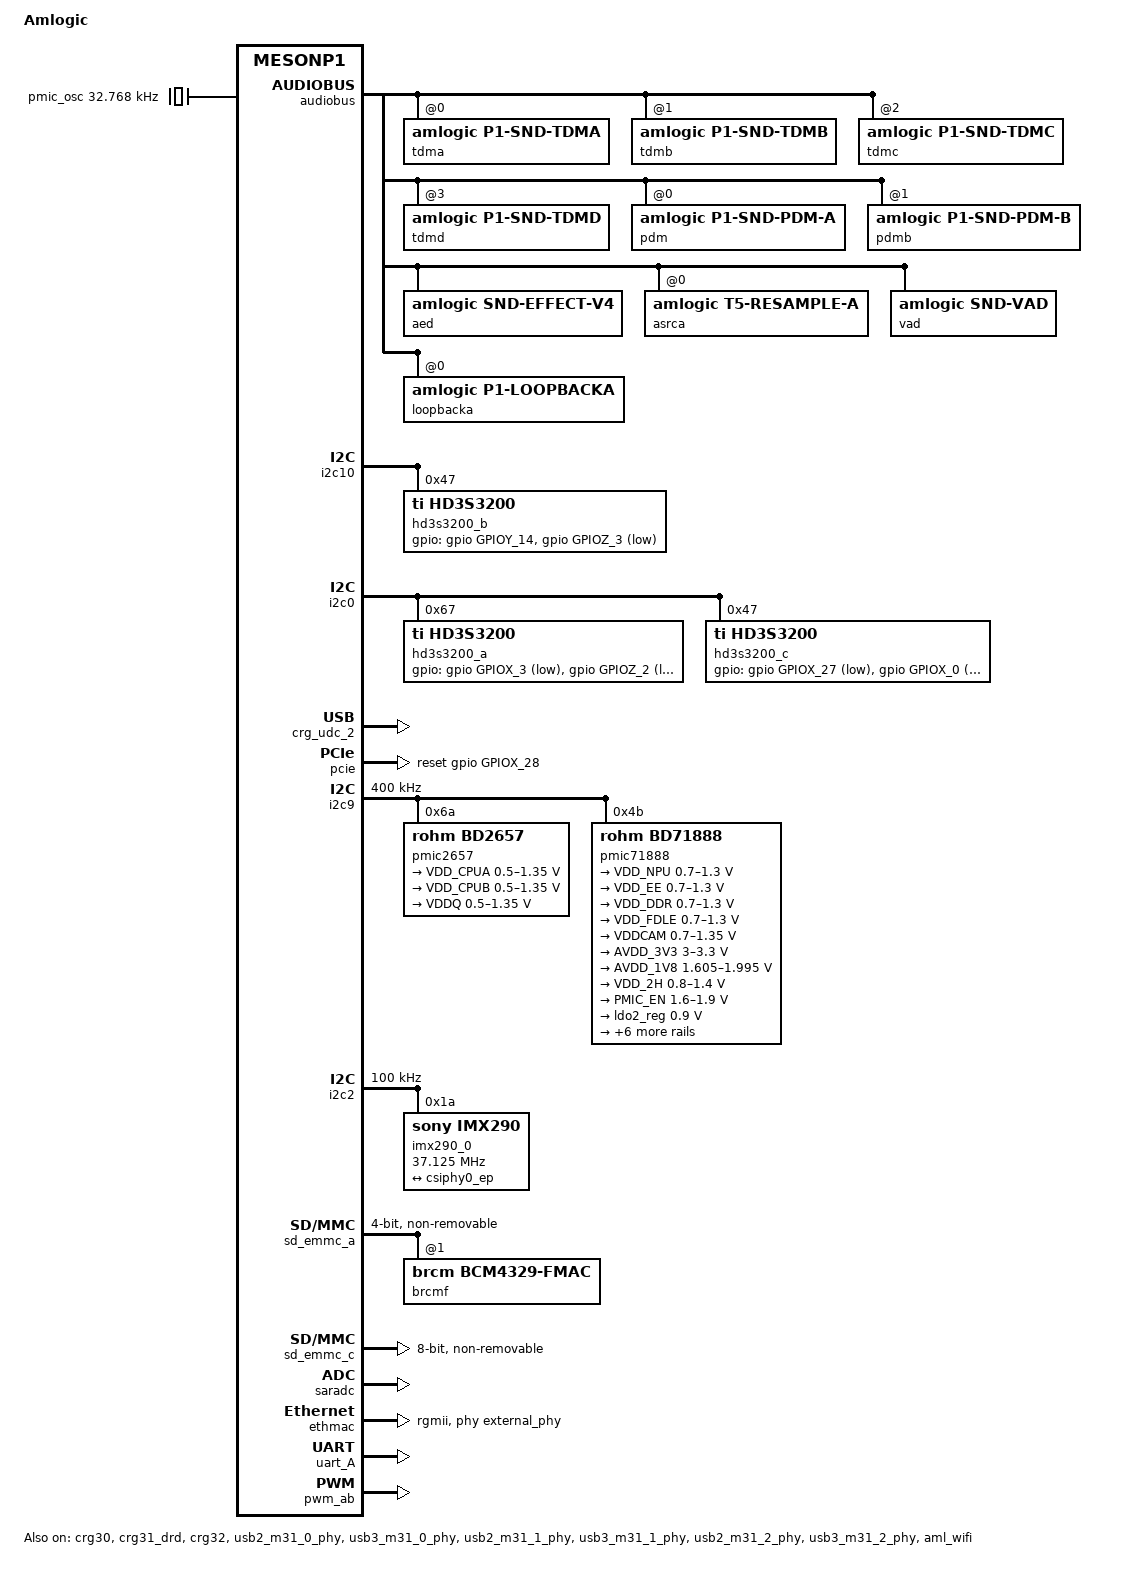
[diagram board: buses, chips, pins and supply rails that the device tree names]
// SPDX-License-Identifier: (GPL-2.0+ OR MIT)
/*
 * Copyright (c) 2019 Amlogic, Inc. All rights reserved.
 */

/dts-v1/;

#include "mesonp1.dtsi"
#include "partition_normal_linux.dtsi"
#include <dt-bindings/input/input.h>
//#include "mesont7_pxp-panel.dtsi"

/ {
	model = "Amlogic";
	amlogic-dt-id = "p1_as400_4g";
	compatible = "amlogic, p1";
	interrupt-parent = <&gic>;
	#address-cells = <2>;
	#size-cells = <2>;

	aliases {
		serial0 = &uart_A;
		serial1 = &uart_C;
		serial2 = &uart_B;
		serial3 = &uart_D;
		serial4 = &uart_E;
		serial5 = &uart_F;
		i2c0 = &i2c0;
		i2c1 = &i2c1;
		i2c2 = &i2c2;
		i2c3 = &i2c3;
		i2c4 = &i2c4;
		i2c5 = &i2c5;
		i2c6 = &i2c6;
		i2c7 = &i2c7;
		i2c8 = &i2c8;
		i2c9 = &i2c9;
		i2c10 = &i2c10;
		spi0 = &spifc;
		spi1 = &spicc0;
		spi2 = &spicc1;
		spi3 = &spicc2;
		spi4 = &spicc3;
		spi5 = &spicc4;
		spi6 = &spicc5;
		tsensor0 = &a76_tsensor;
		tsensor1 = &a55_tsensor;
		tsensor2 = &ddr0_tsensor;
		tsensor3 = &ddr1_tsensor;
		tsensor4 = &nna_tsensor;
	};

	memory@00000000 {
		device_type = "memory";
		linux,usable-memory = <0x00000000 0x00000000 0x00000000 0xE0000000
				       0x00000001 0x00000000 0x00000000 0x20000000>;
	};

	reserved-memory {
		#address-cells = <2>;
		#size-cells = <2>;
		ranges;

		/* global autoconfigured region for contiguous allocations */
		ramoops@0x07400000 {
			compatible = "ramoops";
			reg = <0x0 0x07400000 0x0 0x00100000>;
			record-size = <0x20000>;
			console-size = <0x40000>;
			ftrace-size = <0x80000>;
			pmsg-size = <0x10000>;
			bconsole-size = <0x10000>;
		};

		secmon_reserved:linux,secmon {
			compatible = "shared-dma-pool";
			reusable;
			size = <0x0 0x400000>;
			alignment = <0x0 0x400000>;
			alloc-ranges = <0x0 0x05000000 0x0 0x400000>;
			clear-map;
		};

		dsp_fw_reserved:linux,dsp_fw {
			compatible = "shared-dma-pool";
			reusable;
			size = <0x0 0x1000000>;
			alignment = <0x0 0x400000>;
			alloc-ranges = <0x0 0x3f000000 0x0 0x1000000>;
		};

		/*dsp_shm_reserved:linux,dsp_shm {      */
		/*	compatible = "dspshmem";            */
		/*	reg = <0x0 0x40820000 0x0 0x80000>; */
		/*	size = <0x80000>;                   */
		/*};*/

		logo_reserved:linux,meson-fb {
			compatible = "shared-dma-pool";
			reusable;
			size = <0x0 0x800000>;
			alignment = <0x0 0x400000>;
			alloc-ranges = <0x0 0x3e800000 0x0 0x800000>;
		};

		codec_mm_cma:linux,codec_mm_cma {
			compatible = "shared-dma-pool";
			reusable;
			/* ion_codec_mm max can alloc size 80M*/
			size = <0x0 0xfc00000>;
			alignment = <0x0 0x400000>;
			linux,contiguous-region;
			clear-map;
		};

		/*di CMA pool */
		di_cma_reserved:linux,di_cma {
			compatible = "shared-dma-pool";
			reusable;
			/* buffer_size = 3621952(yuv422 8bit)
			 *  | 4736064(yuv422 10bit)
			 *  | 4074560(yuv422 10bit full pack mode)
			 * 10x3621952=34.6M(0x23) support 8bit
			 * 10x4736064=45.2M(0x2e) support 12bit
			 * 10x4074560=40M(0x28) support 10bit
			 */
			size = <0x0 0x0B000000>;
			//size = <0x0 0x0>;
			alignment = <0x0 0x400000>;
		};

		/*  POST PROCESS MANAGER */
		ppmgr_reserved:linux,ppmgr {
			compatible = "shared-dma-pool";
			size = <0x0 0x0>;
		};

		camera_cma_reserved:linux,camera_cma {
			compatible = "shared-dma-pool";
			reusable;
			status = "okay";
			size = <0x0 0x8000000>;
			alignment = <0x0 0x400000>;
		};

		ion_cma_reserved:linux,ion-dev {
			compatible = "shared-dma-pool";
			reusable;
			size = <0x0 0x5000000>;
			alignment = <0x0 0x400000>;
		};
		/* codec shared reserved */
		codec_mm_reserved:linux,codec_mm_reserved {
			compatible = "amlogic, codec-mm-reserved";
			size = <0x0 0x0>;
			alignment = <0x0 0x100000>;
			//no-map;
		};

		/*  vdin0 CMA pool */
		/*vdin0_cma_reserved:linux,vdin0_cma {*/
		/*	compatible = "shared-dma-pool";*/
		/*	reusable;*/
			/* up to 1920x1080 yuv422 8bit and 5 buffers
			 * 1920x1080x2x5 = 20 M
			 */
		/*	size = <0x0 0x01400000>;*/
		/*	alignment = <0x0 0x400000>;*/
		/*};*/
		/*  vdin1 CMA pool */
		vdin1_cma_reserved:linux,vdin1_cma {
			compatible = "shared-dma-pool";
			reusable;
			/* up to 1920x1080 yuv422 8bit and 5 buffers
			 * 1920x1080x2x5 = 20 M
			 */
			size = <0x0 0x01400000>;
			alignment = <0x0 0x400000>;
		};

		mfh_fw_reserved:linux,mfh_fw {
			compatible = "amlogic, aml_mfh_reserve_mem";
			reusable;
			size = <0x0 0x80000>;
			alignment = <0x0 0x80000>;
			alloc-ranges = <0x0 0x41000000 0x0 0x80000>;
		};
	};

	codec_mm {
		compatible = "amlogic, codec, mm";
		memory-region = <&codec_mm_cma &codec_mm_reserved>;
		dev_name = "codec_mm";
		status = "disabled";
	};

	cvbsout {
		compatible = "amlogic, cvbsout-sc2";
		status = "disabled";

		/* clk path */
		/* 0:vid_pll vid2_clk */
		/* 1:gp0_pll vid2_clk */
		/* 2:vid_pll vid1_clk */
		/* 3:gp0_pll vid1_clk */
		clk_path = <0>;

		/* performance: reg_address, reg_value */
		/* tm2 */
		performance = <0x1bf0  0x9
			0x1b56  0x333
			0x1b12  0x8080
			0x1b05  0xfd
			0x1c59  0xf850
			0xffff  0x0>; /* ending flag */
		performance_sarft = <0x1bf0  0x9
			0x1b56  0x333
			0x1b12  0x0
			0x1b05  0x9
			0x1c59  0xfc48
			0xffff  0x0>; /* ending flag */
		performance_revB_telecom = <0x1bf0  0x9
			0x1b56  0x546
			0x1b12  0x8080
			0x1b05  0x9
			0x1c59  0xf850
			0xffff  0x0>; /* ending flag */
	};

	multi-di {
		compatible = "amlogic, dim-t7";
		status = "disabled";
		/* 0:use reserved; 1:use cma; 2:use cma as reserved */
		flag_cma = <4>;	//<1>;
		//memory-region = <&di_reserved>;
		memory-region = <&di_cma_reserved>;
		interrupts = <0 203 1
				0 202 1>;
		interrupt-names = "pre_irq", "post_irq";
		//clocks = <&clkc CLKID_VPU_CLKB>,
		//	<&clkc CLKID_VPU>;
		//clock-names = "vpu_clkb",
		//	"vpu_mux";
		clock-range = <334 667>;
		/* buffer-size = <3621952>;(yuv422 8bit) */
		buffer-size = <4074560>;/*yuv422 fullpack*/
		/* reserve-iomap = "true"; */
		/* if enable nr10bit, set nr10bit-support to 1 */
		post-wr-support = <1>;
		nr10bit-support = <1>;
		nrds-enable = <1>;
		pps-enable = <1>;
	};

	provisionkey {
		compatible = "amlogic, provisionkey";
		status = "disabled";
		key-permit-default = "write";
		//new key not need add dts if started with KEY_PROVISION_
		KEY_PROVISION_XXX { };
		//test_my_added_keyname { };
	};//End provisionkey

	unifykey{
		compatible = "amlogic,unifykey";
		status = "okay";
		unifykey-num = <19>;
		unifykey-index-0 = <&keysn_0>;
		unifykey-index-1 = <&keysn_1>;
		unifykey-index-2 = <&keysn_2>;
		unifykey-index-3 = <&keysn_3>;
		unifykey-index-4 = <&keysn_4>;
		unifykey-index-5 = <&keysn_5>;
		unifykey-index-6 = <&keysn_6>;
		unifykey-index-7 = <&keysn_7>;
		unifykey-index-8 = <&keysn_8>;
		unifykey-index-9 = <&keysn_9>;
		unifykey-index-10= <&keysn_10>;
		unifykey-index-11= <&keysn_11>;
		unifykey-index-12= <&keysn_12>;
		unifykey-index-13= <&keysn_13>;
		unifykey-index-14= <&keysn_14>;
		unifykey-index-15= <&keysn_15>;
		unifykey-index-16= <&keysn_16>;
		unifykey-index-17= <&keysn_17>;
		unifykey-index-18= <&keysn_18>;
		unifykey-index-19= <&keysn_19>;
		unifykey-index-20= <&keysn_20>;
		unifykey-index-21= <&keysn_21>;

		keysn_0: key_0{
			key-name = "usid";
			key-device = "normal";
			key-permit = "read","write","del";
		};
		keysn_1:key_1{
			key-name = "mac";
			key-device = "normal";
			key-permit = "read","write","del";
		};
		keysn_2:key_2{
			key-name = "hdcp";
			key-device = "secure";
			key-type = "sha1";
			key-permit = "read","write","del";
		};
		keysn_3:key_3{
			key-name = "secure_boot_set";
			key-device = "efuse";
			key-permit = "write";
		};
		keysn_4:key_4{
			key-name = "mac_bt";
			key-device = "normal";
			key-permit = "read","write","del";
			key-type  = "mac";
		};
		keysn_5:key_5{
			key-name = "mac_wifi";
			key-device = "normal";
			key-permit = "read","write","del";
			key-type = "mac";
		};
		keysn_6:key_6{
			key-name = "hdcp2_tx";
			key-device = "normal";
			key-permit = "read","write","del";
		};
		keysn_7:key_7{
			key-name = "hdcp2_rx";
			key-device = "normal";
			key-permit = "read","write","del";
		};
		keysn_8:key_8{
			key-name = "widevinekeybox";
			key-device = "secure";
			key-permit = "read","write","del";
		};
		keysn_9:key_9{
			key-name = "deviceid";
			key-device = "normal";
			key-permit = "read","write","del";
		};
		keysn_10:key_10{
			key-name = "hdcp22_fw_private";
			key-device = "secure";
			key-permit = "read","write","del";
		};
		keysn_11:key_11{
			key-name = "PlayReadykeybox25";
			key-device = "secure";
			key-permit = "read","write","del";
		};
		keysn_12:key_12{
			key-name = "prpubkeybox";// PlayReady
			key-device = "secure";
			key-permit = "read","write","del";
		};
		keysn_13:key_13{
			key-name = "prprivkeybox";// PlayReady
			key-device = "secure";
			key-permit = "read","write","del";
		};
		keysn_14:key_14{
			key-name = "attestationkeybox";// attestation key
			key-device = "secure";
			key-permit = "read","write","del";
		};
		keysn_15:key_15{
			key-name = "region_code";
			key-device = "normal";
			key-permit = "read","write","del";
		};
		keysn_16:key_16{
			key-name = "netflix_mgkid";
			key-device = "secure";
			key-permit = "read","write","del";
		};
		keysn_17:key_17{
			key-name = "attestationdevidbox";// attest dev id box
			key-device = "secure";
			key-permit = "read","write","del";
		};
		keysn_18:key_18{
			key-name = "oemkey";
			key-device = "normal";
			key-permit = "read","write","del";
		};
		keysn_19:key_19{
			key-name = "lcd";
			key-device = "normal";
			key-permit = "read","write","del";
		};
		keysn_20:key_20{
			key-name = "lcd_extern";
			key-device = "normal";
			key-permit = "read","write","del";
		};
		keysn_21:key_21{
			key-name = "backlight";
			key-device = "normal";
			key-permit = "read","write","del";
		};
	};//End unifykey

	pmic_osc: clock-pmic {
		compatible = "fixed-clock";
		#clock-cells = <0>;
		clock-frequency = <32768>;
		clock-output-names = "pmic_osc";
	};

	hdmirx {
		compatible = "amlogic, hdmirx_t7";
		#address-cells=<1>;
		#size-cells=<1>;
		/*memory-region = <&hdmirx_emp_cma_reserved>;*/
		status = "disabled";
		pinctrl-names = "hdmirx_pins";
		pinctrl-0 = <&hdmirx_a_mux &hdmirx_b_mux
			&hdmirx_c_mux>;
		repeat = <0>;
		//power-domains = <&pwrdm PDID_T7_HDMIRX>;
		interrupts = <0 57 IRQ_TYPE_LEVEL_HIGH>;
		//clocks =<&clkc CLKID_HDMIRX_CFG>,
		//	   <&clkc CLKID_HDMIRX_ACR>,
		//	   <&clkc CLKID_HDMIRX_METER>,
		//	   <&clkc CLKID_HDMIRX_2M>,
		//	   <&clkc CLKID_HDMIRX_5M>,
		//	   <&clkc CLKID_HDMIRX_HDCP>,
		//	   <&xtal>,
		//	   <&clkc CLKID_FCLK_DIV4>,
		//	   <&clkc CLKID_FCLK_DIV5>;
		//clock-names = "hdmirx_cfg_clk",
		//		"cts_hdmirx_acr_ref_clk",
		//		"cts_hdmirx_meter_clk",
		//		"cts_hdmirx_2m_clk",
		//		"cts_hdmirx_5m_clk",
		//		"cts_hdmirx_hdcp2x_eclk",
		//		"xtal",
		//		"fclk_div4",
		//		"fclk_div5";
		hdmirx_id = <0>;
		en_4k_2_2k = <0>;
		hpd_low_cec_off = <0>;
		arc_port = <1>;
		/* bit4: enable feature, bit3~0: port number */
		disable_port = <0x0>;
		/* MAP_ADDR_MODULE_CBUS */
		/* MAP_ADDR_MODULE_HIU */
		/* MAP_ADDR_MODULE_HDMIRX_CAPB3 */
		/* MAP_ADDR_MODULE_SEC_AHB */
		/* MAP_ADDR_MODULE_SEC_AHB2 */
		/* MAP_ADDR_MODULE_APB4 */
		/* MAP_ADDR_MODULE_TOP */
		/* MAP_ADDR_MODULE_CLK_CTRL */
		reg = < 0x0 0x0 0x0 0x0
			0x0 0xff63C000 0x0 0x2000
			0x0 0xffe0d000 0x0 0x2000
			0x0 0x0 0x0 0x0
			0x0 0x0 0x0 0x0
			0x0 0x0 0x0 0x0
			0x0 0xfe398000 0x0 0x18000
			0x0 0xfe000000 0x0 0x1fff>;
	};

	/* Audio Related start */
	auge_sound {
		compatible = "amlogic, auge-sound-card";
		aml-audio-card,name = "AML-AUGESOUND";

		/*avout mute gpio*/
		//avout_mute-gpios = <&gpio GPIOH_2 GPIO_ACTIVE_HIGH>;
		//spk_mute-gpios = <&gpio GPIOD_2 GPIO_ACTIVE_LOW>;

		interrupts = <GIC_SPI 51 IRQ_TYPE_EDGE_RISING>;
		interrupt-names = "audio_exception64";

		status = "okay";

		aml-audio-card,dai-link@0 {
			format = "i2s";
			mclk-fs = <256>;
			continuous-clock;
			//bitclock-inversion;
			//frame-inversion;
			/* master mode */
			bitclock-master = <&tdma>;
			frame-master = <&tdma>;
			/* slave mode */
			/*
			 * bitclock-master = <&tdmacodec>;
			 * frame-master = <&tdmacodec>;
			 */
			/* suffix-name, sync with android audio hal used for */
			suffix-name = "alsaPORT-i2s";
			tdmacpu: cpu {
				sound-dai = <&tdma>;
				dai-tdm-slot-tx-mask =
							<1 1>;
				dai-tdm-slot-rx-mask =
							<1 1>;
				dai-tdm-slot-num = <2>;
				dai-tdm-slot-width = <32>;
				system-clock-frequency = <12288000>;
			};
			tdmacodec: codec {
				sound-dai = <&dummy_codec>;
			};
		};

		aml-audio-card,dai-link@1 {
			format = "i2s";
			mclk-fs = <256>;
			//continuous-clock;
			//bitclock-inversion;
			//frame-inversion;
			/* master mode */
			bitclock-master = <&tdmb>;
			frame-master = <&tdmb>;
			/* slave mode */
			//bitclock-master = <&tdmbcodec>;
			//frame-master = <&tdmbcodec>;
			/* suffix-name, sync with android audio hal used for */
			suffix-name = "alsaPORT-pcm";
			cpu {
				sound-dai = <&tdmb>;
				dai-tdm-slot-tx-mask = <1 1>;
				dai-tdm-slot-rx-mask = <1 1>;
				dai-tdm-slot-num = <2>;
				/*
				 * dai-tdm-slot-tx-mask =
				 *	<1 1 1 1 1 1 1 1>;
				 * dai-tdm-slot-rx-mask =
				 *	<1 1 1 1 1 1 1 1>;
				 * dai-tdm-slot-num = <8>;
				 */
				dai-tdm-slot-width = <32>;
				system-clock-frequency = <12288000>;
			};
			tdmbcodec: codec {
				sound-dai = <&dummy_codec>;
			};
		};

		aml-audio-card,dai-link@2 {
			format = "i2s";
			mclk-fs = <256>;
			//continuous-clock;
			//bitclock-inversion;
			//frame-inversion;
			/* master mode */
			bitclock-master = <&tdmc>;
			frame-master = <&tdmc>;
			/* slave mode */
			//bitclock-master = <&tdmccodec>;
			//frame-master = <&tdmccodec>;
			/* suffix-name, sync with android audio hal used for */
			suffix-name = "alsaPORT-tdm-c";
			cpu {
				sound-dai = <&tdmc>;
				dai-tdm-slot-tx-mask = <1 1>;
				dai-tdm-slot-rx-mask = <1 1>;
				dai-tdm-slot-num = <2>;
				dai-tdm-slot-width = <32>;
				system-clock-frequency = <12288000>;
			};
			codec {
				sound-dai = <&dummy_codec>;
			};
		};
		aml-audio-card,dai-link@3 {
			format = "i2s";
			mclk-fs = <256>;
			//continuous-clock;
			//bitclock-inversion;
			//frame-inversion;
			/* master mode */
			bitclock-master = <&tdmd>;
			frame-master = <&tdmd>;
			/* slave mode */
			//bitclock-master = <&tdmccodec>;
			//frame-master = <&tdmccodec>;
			/* suffix-name, sync with android audio hal used for */
			suffix-name = "alsaPORT-tdm-d";
			cpu {
				sound-dai = <&tdmd>;
				dai-tdm-slot-tx-mask = <1 1>;
				dai-tdm-slot-rx-mask = <1 1>;
				dai-tdm-slot-num = <2>;
				dai-tdm-slot-width = <32>;
				system-clock-frequency = <12288000>;
			};
			codec {
				sound-dai = <&dummy_codec>;
			};
		};
		aml-audio-card,dai-link@4 {
			mclk-fs = <64>;
			/* suffix-name, sync with android audio hal used for */
			suffix-name = "alsaPORT-pdm";
			cpu {
				sound-dai = <&pdm>;
			};
			codec {
				sound-dai = <&dummy_codec>;
			};
		};
		aml-audio-card,dai-link@5 {
			mclk-fs = <64>;
			/* suffix-name, sync with android audio hal used for */
			suffix-name = "alsaPORT-pdmb";
			cpu {
				sound-dai = <&pdmb>;
			};
			codec {
				sound-dai = <&dummy_codec>;
			};
		};
		aml-audio-card,dai-link@6 {
			mclk-fs = <256>;
			continuous-clock;
			suffix-name = "alsaPORT-loopback";
			cpu {
				sound-dai = <&loopbacka>;
				system-clock-frequency = <12288000>;
			};
			codec {
				sound-dai = <&dummy_codec>;
			};
		};
	};
	/* Audio Related end */

	picdec {
		compatible = "amlogic, picdec";
		status = "disabled";
	};

	ppmgr {
		compatible = "amlogic, ppmgr";
		memory-region = <&ppmgr_reserved>;
		dev_name = "ppmgr";
		status = "disabled";
	};

	amdolby_vision {
		compatible = "amlogic, dolby_vision_t7";
		dev_name = "aml_amdolby_vision_driver";
		status = "disabled";
		tv_mode = <1>;/*1:enabel ;0:disable*/
	};

    /* SMC */
	smartcard {
		compatible = "amlogic,smartcard-sc2";
		dev_name = "smartcard";
		status = "disabled";

		reg = <0x0 0xfe000000 0x0 0x480000>;
		irq_trigger_type = "GPIO_IRQ_LOW";

		reset_pin-gpios = <&gpio GPIOH_7 GPIO_ACTIVE_HIGH>;
		detect_pin-gpios = <&gpio GPIOH_6 GPIO_ACTIVE_HIGH>;
		enable_5v3v_pin-gpios = <&gpio GPIOT_11 GPIO_ACTIVE_HIGH>;
		enable_pin-gpios = <&gpio GPIOT_12 GPIO_ACTIVE_HIGH>;

		interrupts = <0 174 1>;
		interrupt-names = "smc0_irq";
		/*
		 *Smc clock source, if change this,
		 *you must adjust clk and divider in smartcard.c
		 */
		smc0_clock_source = <0>;
		/*0: high voltage on detect pin indicates card in.*/
		smc0_det_invert = <0>;
		smc0_5v3v_level = <0>;
		/*Ordinarily,smartcard controller needs a enable pin.*/
		smc_need_enable_pin = "yes";
		reset_level = <0>;
		smc0_enable_level = <0>;

		pinctrl-names = "default";
		pinctrl-0 = <&sd_iso7816_pins>;
		//clocks = <&clkc CLKID_SC_CLK_GATE>;
		clock-names = "smartcard";
	};

	dvb-extern {
		compatible = "amlogic, dvb-extern";
		dev_name = "dvb-extern";
		/*GPIOT-19 conflict with audio speaker */
		status = "disabled";

		fe_num = <2>;
		fe0_demod = "cxd2856";
		fe0_i2c_adap_id = <&i2c5>;
		fe0_demod_i2c_addr = <0xD8>;
		fe0_reset_value = <0>;
		fe0_reset_gpio = <&gpio GPIOT_19 GPIO_ACTIVE_HIGH>;
		fe0_reset_dir = <1>; /* 0: out, 1: in. */
		fe0_ant_poweron_value = <0>;
		fe0_ant_power_gpio = <&gpio GPIOT_18 GPIO_ACTIVE_HIGH>;
		fe0_ts  = <0>;
		fe0_tuner0 = <0>; /* T/C */
		fe0_tuner1 = <1>; /* S */

		fe1_demod = "cxd2856";
		fe1_i2c_adap_id = <&i2c5>;
		fe1_demod_i2c_addr = <0xCA>;
		fe1_reset_value = <0>;
		fe1_reset_gpio = <&gpio GPIOT_19 GPIO_ACTIVE_HIGH>;
		fe1_reset_dir = <1>; /* 0: out, 1: in. */
		fe1_ant_poweron_value = <0>;
		fe1_ant_power_gpio = <&gpio GPIOT_18 GPIO_ACTIVE_HIGH>;
		fe1_ts  = <1>;
		fe1_tuner0 = <0>; /* T/C */
		fe1_tuner1 = <1>; /* S */

		tuner_num = <2>; /* for extern demod use tuner */
		tuner0_name = "r836_tuner";
		tuner1_name = "av2018_tuner";
	};

	dvb-demux {
		compatible = "amlogic sc2, dvb-demux";
		dev_name = "dvb-demux";
		status = "disabled";

		reg = <0x0 0xfe000000 0x0 0x480000>;

		dmxdev_num = <3>;

		tsn_from = "demod";

		/*single demod setting */
		ts0_sid = <0x20>;
		ts0 = "serial-4wire"; /* tsinA: serial-4wire, serial-3wire */
		ts0_control = <0x0>;
		ts0_invert = <0>;

		ts1_sid = <0x21>;
		ts1 = "serial-4wire";
		ts1_control = <0x0>;
		ts1_invert = <0>;

		pinctrl-names = "s_ts0", "s_ts1";
		pinctrl-0 = <&dvb_s_ts0_pins>;
		pinctrl-1 = <&dvb_s_ts1_pins>;
	};

	ionvideo {
		compatible = "amlogic, ionvideo";
		dev_name = "ionvideo";
		status = "disabled";
	};

	amlvideo2_0 {
		compatible = "amlogic, amlvideo2";
		dev_name = "amlvideo2";
		status = "disabled";
		amlvideo2_id = <0>;
		cma_mode = <1>;
	};

	amlvideo2_1 {
		compatible = "amlogic, amlvideo2";
		dev_name = "amlvideo2";
		status = "disabled";
		amlvideo2_id = <1>;
		cma_mode = <1>;
	};

	adc_keypad {
		compatible = "amlogic, adc_keypad";
		status = "disabled";
		key_name = "update", "vol-", "vol+", "enter";
		key_num = <4>;
		io-channels = <&saradc 2>;
		io-channel-names = "key-chan-2";
		key_chan = <2 2 2 2>;
		key_code = <141 114 115 28>;
		key_val = <0 143 266 389>; //val=voltage/1800mV*1023
		key_tolerance = <40 40 40 40>;
	};
};

&audiobus {
	tdma:tdm@0 {
		compatible = "amlogic, p1-snd-tdma";
		#sound-dai-cells = <0>;

		dai-tdm-lane-slot-mask-in = <1 0>;
		dai-tdm-lane-slot-mask-out = <1 1 1 1>;
		dai-tdm-clk-sel = <0>;
		clocks = <&clkaudio CLKID_AUDIO_MCLK_A
				&clkc CLKID_MPLL0>;
		clock-names = "mclk", "clk_srcpll";
		pinctrl-names = "tdm_pins";
		pinctrl-0 = <&mclk_0_pins
		&tdm_a_pins
		&tdm_d0_pins
		&tdm_d1_pins
		&tdma_clk_pins>;
		status = "okay";

	};

	tdmb:tdm@1 {
		compatible = "amlogic, p1-snd-tdmb";
		#sound-dai-cells = <0>;

		dai-tdm-lane-slot-mask-in = <1 0 0 0>;
		dai-tdm-lane-slot-mask-out = <0 1 0 0>;
		dai-tdm-clk-sel = <1>;

		clocks = <&clkaudio CLKID_AUDIO_MCLK_B
				&clkc CLKID_MPLL1>;
		clock-names = "mclk", "clk_srcpll";
		pinctrl-names = "tdm_pins";
		pinctrl-0 = <&mclk_1_pins
		&tdm_b_pins
		&tdm_d2_pins
		&tdm_d3_pins
		&tdmb_clk_pins>;
		status = "okay";
	};

	tdmc:tdm@2 {
		compatible = "amlogic, p1-snd-tdmc";
		#sound-dai-cells = <0>;

		dai-tdm-lane-slot-mask-in = <1 0 0 0>;
		dai-tdm-lane-slot-mask-out = <1 0 0 0>;
		dai-tdm-clk-sel = <2>;

		clocks = <&clkaudio CLKID_AUDIO_MCLK_C
				&clkc CLKID_MPLL2>;
		clock-names = "mclk", "clk_srcpll";
		pinctrl-names = "tdm_pins";
		pinctrl-0 = <&mclk_2_pins
		&tdm_c_pins
		&tdm_d4_pins
		&tdm_d5_pins
		&tdmc_clk_pins>;
		status = "okay";
	};
	tdmd:tdm@3 {
		compatible = "amlogic, p1-snd-tdmd";
		#sound-dai-cells = <0>;

		dai-tdm-lane-slot-mask-in = <1 0 0 0>;
		dai-tdm-lane-slot-mask-out = <1 1 1 1>;
		dai-tdm-clk-sel = <3>;

		clocks = <&clkaudio CLKID_AUDIO_GATE_TDMIND
			&clkaudio CLKID_AUDIO_GATE_TDMOUTD
			&clkaudio CLKID_AUDIO_MCLK_D
			&clkaudio CLKID_AUDIO_MCLK_PAD3
			&clkc CLKID_MPLL3>;
		clock-names = "gate_in","gate_out","mclk",
					"mclk_pad","clk_srcpll";
		pinctrl-names = "tdm_pins";
		pinctrl-0 = <&mclk_3_pins
			&tdm_d_pins
			&tdm_d6_pins
			&tdm_d7_pins
			&tdmd_clk_pins>;
		start_clk_enable = <1>;
		status = "okay";
	};
	pdm:pdm@0 {
		compatible = "amlogic, p1-snd-pdm-a";
		#sound-dai-cells = <0>;

		clocks = <&clkaudio CLKID_AUDIO_GATE_PDM
			&clkc CLKID_FCLK_DIV3
			&clkc CLKID_MPLL3
			&clkaudio CLKID_AUDIO_PDMIN0
			&clkaudio CLKID_AUDIO_PDMIN1>;
		clock-names = "gate",
			"sysclk_srcpll",
			"dclk_srcpll",
			"pdm_dclk",
			"pdm_sysclk";

		pinctrl-names = "pdm_pins";
		pinctrl-0 = <&pdmin_pins>;

		/* mode 0~4, defalut:1 */
		filter_mode = <1>;

		train_sample_count = <0xb>;

		status = "okay";
	};
	pdmb:pdm@1 {
		compatible = "amlogic, p1-snd-pdm-b";
		#sound-dai-cells = <0>;

		clocks = <&clkaudio CLKID_AUDIO_GATE_PDM_B
			&clkc CLKID_FCLK_DIV3
			&clkc CLKID_MPLL3
			&clkaudio CLKID_AUDIO_PDMBIN0
			&clkaudio CLKID_AUDIO_PDMBIN1>;
		clock-names = "gate",
			"sysclk_srcpll",
			"dclk_srcpll",
			"pdm_dclk",
			"pdm_sysclk";

		pinctrl-names = "pdm_pins";
		pinctrl-0 = <&pdmbin_pins>;

		/* mode 0~4, defalut:1 */
		filter_mode = <1>;

		train_sample_count = <0xb>;

		status = "okay";
	};
	spdifa:spdif@0 {
		compatible = "amlogic, tm2-revb-snd-spdif-a";
		#sound-dai-cells = <0>;

		clocks = <&clkc CLKID_MPLL0
				&clkc CLKID_FCLK_DIV4
				&clkaudio CLKID_AUDIO_GATE_SPDIFIN
				&clkaudio CLKID_AUDIO_GATE_SPDIFOUT_A
				&clkaudio CLKID_AUDIO_SPDIFIN
				&clkaudio CLKID_AUDIO_SPDIFOUT_A>;
		clock-names = "sysclk", "fixed_clk", "gate_spdifin",
				"gate_spdifout", "clk_spdifin", "clk_spdifout";
		interrupts =
				<GIC_SPI 35 IRQ_TYPE_EDGE_RISING>;

		interrupt-names = "irq_spdifin";
		pinctrl-names = "spdif_pins", "spdif_pins_mute";
		pinctrl-0 = <&spdifout_d>;
		pinctrl-1 = <&spdifout_d_mute>;

		samesource_sel = <4>;

		/*spdif clk tuning enable*/
		clk_tuning_enable = <1>;
		status = "disabled";
	};
	spdifb:spdif@1 {
		compatible = "amlogic, tm2-revb-snd-spdif-b";
		#sound-dai-cells = <0>;
		clocks = <&clkc CLKID_MPLL2 /*CLKID_HIFI_PLL*/
				&clkaudio CLKID_AUDIO_GATE_SPDIFOUT_B
				&clkaudio CLKID_AUDIO_SPDIFOUT_B>;
		clock-names = "sysclk",
				"gate_spdifout", "clk_spdifout";

		status = "disabled";
	};

	extn:extn {
		compatible = "amlogic, t7-snd-extn";
		#sound-dai-cells = <0>;

		interrupts =
				<GIC_SPI 42 IRQ_TYPE_EDGE_RISING>;
		interrupt-names = "irq_frhdmirx";

		status = "disabled";
	};

	aed:effect {
		compatible = "amlogic, snd-effect-v4";
		#sound-dai-cells = <0>;

		clocks = <&clkaudio CLKID_AUDIO_GATE_EQDRC
			&clkc CLKID_FCLK_DIV5
			&clkaudio CLKID_AUDIO_EQDRC>;
		clock-names = "gate", "srcpll", "eqdrc";

		/*
		 * 0:tdmout_a
		 * 1:tdmout_b
		 * 2:tdmout_c
		 * 3:spdifout
		 * 4:spdifout_b
		 */
		eqdrc_module = <0>;
		/* max 0xf, each bit for one lane, usually one lane */
		lane_mask = <0x1>;
		/* max 0xff, each bit for one channel */
		channel_mask = <0xff>;

		status = "okay";
	};

	asrca:resample@0 {
		compatible = "amlogic, t5-resample-a";
		clocks = <&clkc CLKID_MPLL1
			&clkaudio CLKID_AUDIO_MCLK_B
			&clkaudio CLKID_AUDIO_RESAMPLE_A>;
		clock-names = "resample_pll", "resample_src", "resample_clk";

		/*same with toddr_src
		 *	TDMIN_A,    0
		 *	TDMIN_B,    1
		 *	TDMIN_C,    2
		 *	SPDIFIN,    3
		 *	PDMIN,      4
		 *	FRATV,      5
		 *	TDMIN_LB,   6
		 *	LOOPBACK_A, 7
		 *	FRHDMIRX,   8
		 *	LOOPBACK_B, 9
		 *	SPDIFIN_LB, 10
		 *	EARC_RX,    11
		 */
		resample_module = <6>;

		status = "okay";
	};

	asrcb:resample@1 {
		compatible = "amlogic, t5-resample-b";
		clocks = <&clkc CLKID_MPLL3
			&clkaudio CLKID_AUDIO_MCLK_F
			&clkaudio CLKID_AUDIO_RESAMPLE_B>;
		clock-names = "resample_pll", "resample_src", "resample_clk";

		/*this resample is only used for loopback_A.*/
		capture_sample_rate = <16000>;

		status = "disabled";
	};

	vad:vad {
		compatible = "amlogic, snd-vad";
		#sound-dai-cells = <0>;

		clocks = <&clkaudio CLKID_AUDIO_GATE_TOVAD
			&clkc CLKID_FCLK_DIV5
			&clkaudio CLKID_AUDIO_VAD>;
		clock-names = "gate", "pll", "clk";

		interrupts = <GIC_SPI 39 IRQ_TYPE_EDGE_RISING
				GIC_SPI 44 IRQ_TYPE_EDGE_RISING>;
		interrupt-names = "irq_wakeup", "irq_frame_sync";

		/*
		 * Data src sel:
		 * 0: tdmin_a;
		 * 1: tdmin_b;
		 * 2: tdmin_c;
		 * 3: spdifin;
		 * 4: pdmin;
		 * 5: loopback_b;
		 * 6: tdmin_lb;
		 * 7: loopback_a;
		 */
		src = <4>;

		/*
		 * deal with hot word in user space or kernel space
		 * 0: in user space
		 * 1: in kernel space
		 */
		level = <1>;

		status = "okay";
	};

	loopbacka:loopback@0 {
		compatible = "amlogic, p1-loopbacka";
		#sound-dai-cells = <0>;

		clocks = <&clkaudio CLKID_AUDIO_GATE_PDM
			&clkc CLKID_FCLK_DIV3
			&clkc CLKID_MPLL3
			&clkaudio CLKID_AUDIO_PDMIN0
			&clkaudio CLKID_AUDIO_PDMIN1
			&clkc CLKID_MPLL0
			&clkaudio CLKID_AUDIO_MCLK_A>;
		clock-names = "pdm_gate",
			"pdm_sysclk_srcpll",
			"pdm_dclk_srcpll",
			"pdm_dclk",
			"pdm_sysclk",
			"tdminlb_mpll",
			"tdminlb_mclk";

		/* datain src
		 * 0: tdmin_a;
		 * 1: tdmin_b;
		 * 2: tdmin_c;
		 * 3: spdifin;
		 * 4: pdmin;
		 */
		datain_src = <4>;
		datain_chnum = <4>;
		datain_chmask = <0xf>;
		/* config which data pin for loopback */
		datain-lane-mask-in = <1 0 1 0>;

		/* calc mclk for datalb */
		mclk-fs = <256>;

		/* tdmin_lb src
		 * 0: tdmoutA
		 * 1: tdmoutB
		 * 2: tdmoutC
		 * 3: PAD_TDMINA_DIN*, refer to core pinmux
		 * 4: PAD_TDMINB_DIN*, refer to core pinmux
		 * 5: PAD_TDMINC_DIN*, refer to core pinmux
		 * 6: PAD_TDMINA_D*, oe, refer to core pinmux
		 * 7: PAD_TDMINB_D*, oe, refer to core pinmux
		 */
		/* if tdmin_lb >= 3, use external loopback */
		datalb_src = <1>;
		datalb_chnum = <2>;
		datalb_chmask = <0x3>;
		/* config which data pin as loopback */
		datalb-lane-mask-in = <1 0 0 0>;

		status = "okay";
	};

	loopbackb:loopback@1 {
		compatible = "amlogic, p1-loopbackb";
		#sound-dai-cells = <0>;

		clocks = <&clkaudio CLKID_AUDIO_GATE_PDM
			&clkc CLKID_FCLK_DIV3
			&clkc CLKID_MPLL3
			&clkaudio CLKID_AUDIO_PDMIN0
			&clkaudio CLKID_AUDIO_PDMIN1
			&clkc CLKID_MPLL0
			&clkaudio CLKID_AUDIO_MCLK_A>;
		clock-names = "pdm_gate",
			"pdm_sysclk_srcpll",
			"pdm_dclk_srcpll",
			"pdm_dclk",
			"pdm_sysclk",
			"tdminlb_mpll",
			"tdminlb_mclk";

		/* calc mclk for datain_lb */
		mclk-fs = <256>;

		/* datain src
		 * 0: tdmin_a;
		 * 1: tdmin_b;
		 * 2: tdmin_c;
		 * 3: spdifin;
		 * 4: pdmin;
		 */
		datain_src = <4>;
		datain_chnum = <4>;
		datain_chmask = <0xf>;
		/* config which data pin for loopback */
		datain-lane-mask-in = <1 0 1 0>;

		/* tdmin_lb src
		 * 0: tdmoutA
		 * 1: tdmoutB
		 * 2: tdmoutC
		 * 3: PAD_TDMINA_DIN*, refer to core pinmux
		 * 4: PAD_TDMINB_DIN*, refer to core pinmux
		 * 5: PAD_TDMINC_DIN*, refer to core pinmux
		 * 6: PAD_TDMINA_D*, oe, refer to core pinmux
		 * 7: PAD_TDMINB_D*, oe, refer to core pinmux
		 */
		/* if tdmin_lb >= 3, use external loopback */
		datalb_src = <1>;
		datalb_chnum = <2>;
		datalb_chmask = <0x3>;
		/* config which data pin as loopback */
		datalb-lane-mask-in = <1 0 0 0>;

		status = "disabled";
	};
}; /* end of audiobus */

&earc {
	status = "disabled";
};

&i2c10 {
	status = "okay";
	pinctrl-names = "default";
	pinctrl-0=<&i2c10_pins1>;

	hd3s3200_b: hd3s3200_b@47 {
		compatible = "ti, hd3s3200";
		reg = <0x47>;
		controller-type = <3>;
		gpio-vbus-power = "GPIOY_14";
		gpios = <&gpio GPIOY_14 GPIO_ACTIVE_HIGH
		&gpio GPIOZ_3  GPIO_ACTIVE_LOW>;
		udc-name = "fde00000.crgudc2";
		status = "okay";
	};
};

&i2c0 {
	status = "okay";
	pinctrl-names = "default";
	pinctrl-0=<&i2c0_pins1>;

	hd3s3200_a: hd3s3200_a@67 {
		compatible = "ti, hd3s3200";
		reg = <0x67>;
		controller-type = <1>;
		gpio-vbus-power = "GPIOX_3";
		gpios = <&gpio GPIOX_3 GPIO_ACTIVE_LOW
		&gpio GPIOZ_2  GPIO_ACTIVE_LOW>;
		udc-name = "fdd00000.crgudc2";
		status = "okay";
	};

	hd3s3200_c: hd3s3200_c@47 {
		compatible = "ti, hd3s3200";
		reg = <0x47>;
		controller-type = <1>;
		gpio-vbus-power = "GPIOX_27";
		gpios = <&gpio GPIOX_27 GPIO_ACTIVE_LOW
		&gpio GPIOX_0  GPIO_ACTIVE_LOW>;
		udc-name = "fdf00000.crgudc2";
		status = "okay";
	};
};

&crg21_otg {
	status = "disable";
	controller-type = <2>;
	gpio-vbus-power = "GPIOY_14";
	gpios = <&gpio GPIOY_14 GPIO_ACTIVE_HIGH>;
};

&crg30 {
	compatible = "amlogic, crg-host-drd";
	status = "okay";
};

&crg31_drd {
	compatible = "amlogic, crg-drd";
	status = "okay";
};

&crg32 {
	compatible = "amlogic, crg-host-drd";
	status = "okay";
};

&usb2_m31_0_phy {
	status = "okay";
};

&usb3_m31_0_phy {
	status = "okay";
	portnum = <1>;
};

&usb2_m31_1_phy {
	status = "okay";
};

&usb3_m31_1_phy {
	status = "okay";
	portnum = <1>;
};

&usb2_m31_2_phy {
	status = "okay";
};

&usb3_m31_2_phy {
	status = "okay";
	portnum = <1>;
};

&crg_udc_2 {
	status = "okay";
	controller-type = <4>;
};

&pcie {
	reset-gpio = <&gpio GPIOX_28 GPIO_ACTIVE_HIGH>;
	status = "okay";
};

&pcie_ep {
	reset-gpio = <&gpio GPIOX_28 GPIO_ACTIVE_LOW>;
	status = "disable";
};

&i2c9 {
	clock-frequency = <400000>;
	pinctrl-names = "default";
	pinctrl-0 = <&i2c9_pins1>;
	status = "okay";
	#address-cells = <1>;
    #size-cells = <0>;
    pmic2657: pmic@6a {
		compatible = "rohm,bd2657";
		reg = <0x6a>;
		interrupt-parent = <&gpio_intc>;
		interrupts = <29 IRQ_TYPE_LEVEL_HIGH>;
		interrupt-names = "cpu-irq";
		gpio-controller;
		#gpio-cells = <2>;
		gpio-reserved-ranges = <0 1>;

		regulators {
			VDD_CPUA: BUCK1 {
				regulator-name = "VDD_CPUA";
				regulator-min-microvolt = <500000>;
				regulator-max-microvolt = <1350000>;
				regulator-always-on;
			};
			VDD_CPUB: BUCK3 {
				regulator-name = "VDD_CPUB";
				regulator-min-microvolt = <500000>;
				regulator-max-microvolt = <1350000>;
				regulator-always-on;
			};
			VDDQ: BUCK4 {
				regulator-name = "VDDQ";
				regulator-min-microvolt = <500000>;
				regulator-max-microvolt = <1350000>;
				regulator-always-on;
			};
		};
	};

	pmic71888: pmic@4b {
		compatible = "rohm,bd71888";
		reg = <0x4b>;
		clocks = <&pmic_osc>;
		clock-names = "osc";
		clock-output-names = "pmic_clk";
		interrupt-parent = <&gpio_intc>;
		interrupts = <GPIOE_5 GPIO_ACTIVE_LOW>;
		interrupt-names = "irq";
		rohm,reset-snvs-powered;

		regulators {
			VDD_NPU: BUCK1 {
				regulator-name = "VDD_NPU";
				regulator-min-microvolt = <700000>;
				regulator-max-microvolt = <1300000>;
				regulator-boot-on;
				regulator-ramp-delay = <10000>;
				rohm,dvs-run-voltage = <840000>;
				rohm,dvs-idle-voltage = <840000>;
				rohm,dvs-suspend-voltage = <840000>;
				regulator-always-on;
			};

			VDD_EE: BUCK2 {
				regulator-name = "VDD_EE";
				regulator-min-microvolt = <700000>;
				regulator-max-microvolt = <1300000>;
				regulator-boot-on;
				regulator-ramp-delay = <10000>;
				rohm,dvs-run-voltage = <840000>;
				rohm,dvs-idle-voltage = <840000>;
				regulator-always-on;
			};

			VDD_DDR: BUCK3 {
				regulator-name = "VDD_DDR";
				regulator-min-microvolt = <700000>;
				regulator-max-microvolt = <1300000>;
				regulator-boot-on;
				rohm,dvs-run-voltage = <800000>;
				regulator-always-on;
			};

			VDD_FDLE: BUCK4 {
				regulator-name = "VDD_FDLE";
				regulator-min-microvolt = <700000>;
				regulator-max-microvolt = <1300000>;
				rohm,dvs-run-voltage = <840000>;
				regulator-always-on;
			};

			VDDCAM: BUCK5 {
				regulator-name = "VDDCAM";
				regulator-min-microvolt = <700000>;
				regulator-max-microvolt = <1350000>;
			};

			AVDD_3V3: BUCK6 {
				regulator-name = "AVDD_3V3";
				regulator-min-microvolt = <3000000>;
				regulator-max-microvolt = <3300000>;
				regulator-boot-on;
				regulator-always-on;
			};

			AVDD_1V8: BUCK7 {
				regulator-name = "AVDD_1V8";
				regulator-min-microvolt = <1605000>;
				regulator-max-microvolt = <1995000>;
				regulator-boot-on;
				regulator-always-on;
			};

			VDD_2H: BUCK8 {
				regulator-name = "VDD_2H";
				regulator-min-microvolt = <800000>;
				regulator-max-microvolt = <1400000>;
				regulator-boot-on;
				regulator-always-on;
			};

			PMIC_EN: LDO1 {
				regulator-name = "PMIC_EN";
				regulator-min-microvolt = <1600000>;
				regulator-max-microvolt = <1900000>;
				regulator-boot-on;
				regulator-always-on;
			};

			ldo2_reg: LDO2 {
				regulator-name = "ldo2_reg";
				regulator-min-microvolt = <900000>;
				regulator-max-microvolt = <900000>;
			};

			VAON_1V8: LDO3 {
				regulator-name = "VAON_1V8";
				regulator-min-microvolt = <1800000>;
				regulator-max-microvolt = <3300000>;
				regulator-boot-on;
				regulator-always-on;
			};

			MINPCIE: LDO4 {
				regulator-name = "MINPCIE";
				regulator-min-microvolt = <900000>;
				regulator-max-microvolt = <1800000>;
			};

			TOF_2V8: LDO5 {
				regulator-name = "TOF_2V8";
				regulator-min-microvolt = <1800000>;
				regulator-max-microvolt = <3300000>;
			};

			AVDD12_PCIE: LDO6 {
				regulator-name = "AVDD12_PCIE";
				regulator-min-microvolt = <900000>;
				regulator-max-microvolt = <1800000>;
				regulator-boot-on;
				regulator-always-on;
			};

			VIOCAM: LDO7 {
				regulator-name = "VIOCAM";
				regulator-min-microvolt = <1800000>;
				regulator-max-microvolt = <3300000>;
			};

			BACKLIGHT: MUXSW_EN {
				regulator-name = "BACKLIGHT";
				regulator-min-microvolt = <1800000>;
				regulator-max-microvolt = <1800000>;
				regulator-always-on;
			};
		};
	};
};

&i2c1 {
	status = "disabled";
	pinctrl-names="default";
	pinctrl-0=<&i2c1_pins1>;

	tas5707_36: tas5707_36@1b {
		compatible = "ti,tas5707";
		#sound-dai-cells = <0>;
		reg = <0x1b>;
		status = "disabled";
		reset_pin = <&gpio GPIOT_19 GPIO_ACTIVE_HIGH>;
	};

	tas5707_3a: tas5707_3a@1d {
		compatible = "ti,tas5707";
		#sound-dai-cells = <0>;
		reg = <0x1d>;
		status = "disabled";
	};
};

&i2c2 {
	status = "okay";
	clock-frequency = <100000>;
	pinctrl-names = "default";//, "sleep"
	pinctrl-0 = <&i2c2_pins1>;
	//pinctrl-1 = <&i2c2_sleep_pins1>;
	imx290_0: sensor0@1a {
		compatible = "sony, imx290";
		reg = <0x1a>;
		clock-frequency = <37125000>;
		port {
			imx290_0_ep: endpoint {
			data-lanes = <0 1 2 3>;
			link-frequencies = /bits/ 64 <445500000>;
			remote-endpoint = <&csiphy0_ep>;
			};
		};
	};

};

&csiphy0 {
	port {
		csiphy0_ep: endpoint {
		clock-lanes = <4>;
		data-lanes = <0 1 2 3>;
		remote-endpoint = <&imx290_0_ep>;
		};
	};
};

&isp0 {
	memory-region = <&camera_cma_reserved>;
};

&i2c5 {
	status = "disable";
	pinctrl-names = "default";//, "sleep"
	pinctrl-0 = <&i2c5_pins1>;
	//pinctrl-1 = <&i2c2_sleep_pins2>;
	clock-frequency = <100000>; /* default 100k */
};

/* SDIO */
&sd_emmc_a {
	status = "okay";
	pinctrl-0 = <&sdio_pins>;
	pinctrl-1 = <&sdio_clk_gate_pins>;
	pinctrl-names = "default", "clk-gate";
	#address-cells = <1>;
	#size-cells = <0>;

	bus-width = <4>;
	cap-sd-highspeed;
	sd-uhs-sdr50;
	sd-uhs-sdr104;
	max-frequency = <200000000>;

	non-removable;
	disable-wp;

	//vmmc-supply = <&vddao_3v3>;
	//vqmmc-supply = <&vddio_ao1v8>;

	brcmf: wifi@1 {
		reg = <1>;
		compatible = "brcm,bcm4329-fmac";
	};
};

&sd_emmc_c {
	status = "okay";
	pinctrl-0 = <&emmc_pins>, <&emmc_ds_pins>;
	pinctrl-1 = <&emmc_clk_gate_pins>;
	pinctrl-names = "default", "clk-gate";

	bus-width = <8>;
	cap-mmc-highspeed;
	mmc-ddr-1_8v;
	mmc-hs200-1_8v;
	mmc-hs400-1_8v;
	//mmc-hs400-enhanced-strobe;
	max-frequency = <200000000>;
	non-removable;
	disable-wp;

//	mmc-pwrseq = <&emmc_pwrseq>;
//	vmmc-supply = <&vddao_3v3>;
//	vqmmc-supply = <&vddao_1v8>;
};

&saradc {
	status = "okay";
};

&ethmac {
	pinctrl-0 = <&eth_pins>, <&eth_rgmii_pins>;
	pinctrl-names = "default";
	status = "okay";
	phy-mode = "rgmii";
	phy-handle = <&external_phy>;
	mc_val = <0x1621>;
};

&uart_A {
	status = "okay";
};

&ir {
	status = "disabled";
	pinctrl-0 = <&remote_pins>;
	pinctrl-names = "default";
};

&spifc {
	status = "disabled";
	spi-nor@0 {
		status = "disabled";
	};
};

&spicc0 {
	status = "disabled";
	pinctrl-names = "default";
	pinctrl-0 = <&spicc0_pins>;
	cs-gpios = <&gpio GPIOH_9 0>;
};

&spicc1 {
	status = "disabled";
	pinctrl-names = "default";
	pinctrl-0 = <&spicc1_pins>;
	cs-gpios = <&gpio GPIOH_13 0>;
};

&sspicc1 {
	status = "disabled";
	pinctrl-names = "default";
	pinctrl-0 = <&spicc1_pins &spicc1_cs_pins>;
	cs-num = <0>;
	spi-mode = <0x0>;
	vmem-bus-num = <0>;
};

&spicc2 {
	status = "disabled";
	pinctrl-names = "default";
	pinctrl-0 = <&spicc2_pins_h>;
	cs-gpios = <&gpio GPIOH_17 0>;
};

&spicc3 {
	status = "disabled";
	pinctrl-names = "default";
	pinctrl-0 = <&spicc3_pins_k>;
	cs-gpios = <&gpio GPIOK_3 0>;

};

&spicc4 {
	status = "disabled";
	pinctrl-names = "default";
	pinctrl-0 = <&spicc4_pins_k>;
	cs-gpios = <&gpio GPIOK_7 0>;
};

&spicc5 {
	status = "disabled";
	pinctrl-names = "default";
	pinctrl-0 = <&spicc5_pins>;
	cs-gpios = <&gpio GPIOT_13 0>;
	spi-nor@0 {
		compatible = "jedec,spi-nor";
		status = "okay";
		reg = <0>;
		spi-max-frequency = <16000000>;
	};
};

&fb {
	status = "disabled";
	display_size_default = <1920 1080 1920 2160 32>;
	mem_size = <0x00800000 0x1980000 0x100000 0x100000 0x100000>;
	logo_addr = "0x3e800000";
	mem_alloc = <0>;
	pxp_mode = <0>; /** 0:normal mode 1:pxp mode */
};

&amhdmitx {
	status = "disabled";
};

/*if you want to use vdin just modify status to "ok"*/
&vdin0 {
	/*memory-region = <&vdin0_cma_reserved>;*/
	status = "disabled";
	/*MByte, if 10bit disable: 64M(YUV422),
	 *if 10bit enable: 64*1.5 = 96M(YUV422)
	 *if support 4K2K-YUV444-10bit-WR:3840*2160*4*4 ~= 128M
	 *if support 4K2K-YUV422-10bit-wr:3840*2160*3*4 ~= 96M
	 *if support 4K2K-YUV422-8BIT-WR:3840*2160*2*4 ~= 64M
	 *if support 1080p-YUV422-8BIT-WR:1920*1080*2*4 ~= 16M
	 * onebuffer:
	 * worst case:(4096*2160*3 + 2M(afbce issue)) = 27.5M
	 * dw:960x540x3 = 1.5M
	 * total size:(27.5+1.5)x buffernumber
	 */
	cma_size = <300>;
	frame_buff_num = <10>;
};

&vdin1 {
	memory-region = <&vdin1_cma_reserved>;
	status = "disabled";
};

&periphs_pinctrl {
	pdmin_pins: pdmin_pin {
		mux { /* GPIOT_24, GPIOT_26, GPIOT_28, GPIOT_30*/
			groups = "pdm_a_din0",
				"pdm_a_din1",
				"pdm_a_din2",
				"pdm_a_din3",
				"pdm_a_dclk_t24",
				"pdm_a_dclk_t26",
				"pdm_a_dclk_t28",
				"pdm_a_dclk_t30";
			function = "pdm";
		};
	};
	pdmbin_pins: pdmbin_pin {
		mux { /* GPIOT_24, GPIOT_26, GPIOT_28, GPIOT_30, GPIOM_2 */
			groups = "pdm_b_din0",
				"pdm_b_din1",
				"pdm_b_dclk_k13",
				"pdm_b_dclk_k15";
			function = "pdm";
		};
	};
	tdm_a_pins: tdm_a_pin {
		mux { /* GPIOT_15, GPIOT_16, GPIOT_17, GPIOT_18 */
			groups = "tdm_sclk0",
				"tdm_fs0",
				"tdm_d0",
				"tdm_d1";
			function = "tdm";
		};
	};
	tdm_b_pins: tdm_b_pin {
		mux { /* GPIOT_20, GPIOT_21, GPIOT_22, GPIOT_23 */
			groups = "tdm_sclk1",
				"tdm_fs1",
				"tdm_d2",
				"tdm_d3";
			function = "tdm";
		};
	};
	tdm_c_pins: tdm_c_pin {
		mux { /* GPIOK_9, GPIOK_10, GPIOK_11, GPIOK_12 */
			groups = "tdm_sclk2",
				"tdm_fs2",
				"tdm_d4",
				"tdm_d5";
			function = "tdm";
		};
	};
	tdm_d_pins: tdm_d_pin {
		mux { /* GPIOW_1, GPIOW_2, GPIOW_3, GPIOW_4 */
			groups = "tdm_sclk3_w",
				"tdm_fs3_w",
				"tdm_d6_w",
				"tdm_d7_w";
			function = "tdm";
		};
	};
    dvb_s_ts0_pins: dvb_s_ts0_pins {
		tsin_a {
			groups = "tsin_a_sop_t",
				   "tsin_a_valid_t",
				   "tsin_a_clk_t",
				   "tsin_a_din0_t";
			function = "tsin_a";
		};
	};

	dvb_s_ts1_pins: dvb_s_ts1_pins {
		tsin_b {
			groups = "tsin_b_sop",
				   "tsin_b_valid",
				   "tsin_b_clk",
				   "tsin_b_din0";
			function = "tsin_b";
		};
	};
};

&pinctrl_audio {
	tdm_d0_pins: tdm_d0_pin {
		mux {
			groups = "tdm_d0";
			function = "tdmouta_lane0";
		};
	};
	tdm_d1_pins: tdm_d1_pin {
		mux {
			groups = "tdm_d1";
			function = "tdmina_lane0";
		};
	};
	tdm_d2_pins: tdm_d2_pin {
		mux {
			groups = "tdm_d2";
			function = "tdmoutb_lane0";
		};
	};
	tdm_d3_pins: tdm_d3_pin {
		mux {
			groups = "tdm_d3";
			function = "tdminb_lane0";
		};
	};
	tdm_d4_pins: tdm_d4_pin {
		mux {
			groups = "tdm_d4";
			function = "tdmoutc_lane0";
		};
	};

	tdm_d5_pins: tdm_d5_pin {
		mux {
			groups = "tdm_d5";
			function = "tdminc_lane0";
		};
	};
	tdm_d6_pins: tdm_d6_pin {
		mux {
			groups = "tdm_d6";
			function = "tdmoutd_lane1";
		};
	};

	tdm_d7_pins: tdm_d7_pin {
		mux {
			groups = "tdm_d7";
			function = "tdmoutd_lane0";
		};
	};
	tdma_clk_pins: tdma_clk_pin {
		mux {
			groups = "tdm_sclk0", "tdm_lrclk0";
			function = "tdm_clk_outa";
		};
	};
	tdmb_clk_pins: tdmb_clk_pin {
		mux {
			groups = "tdm_sclk1", "tdm_lrclk1";
			function = "tdm_clk_outb";
		};
	};
	tdmc_clk_pins: tdmc_clk_pin {
		mux {
			groups = "tdm_sclk2", "tdm_lrclk2";
			function = "tdm_clk_outc";
		};
	};
	tdmd_clk_pins: tdmd_clk_pin {
		mux {
			groups = "tdm_sclk3", "tdm_lrclk3";
			function = "tdm_clk_outd";
		};
	};
};

&ir {
	status = "disabled";
	pinctrl-0 = <&remote_pins>;
	pinctrl-names = "default";
};

&amlvecm {
	status = "disabled";
	gamma_en = <0>;/*1:enabel ;0:disable*/
	wb_en = <0>;/*1:enabel ;0:disable*/
	cm_en = <0>;/*1:enabel ;0:disable*/
	wb_sel = <0>;/*1:mtx ;0:gainoff*/
	vlock_en = <1>;/*1:enable;0:disable*/
	vlock_mode = <0x8>;
	/*vlock work mode:
	 *bit0:auto ENC
	 *bit1:auto PLL
	 *bit2:manual PLL
	 *bit3:manual ENC
	 *bit4:manual soft ENC
	 *bit5:manual MIX PLL ENC
	 */
	 vlock_pll_m_limit = <1>;
	 vlock_line_limit = <2>;
};

&aml_wifi{
	status = "okay";
	interrupt-gpios = <&gpio  GPIOY_10  GPIO_ACTIVE_HIGH>;
	power_on-gpios = <&gpio   GPIOY_13  GPIO_ACTIVE_HIGH>;
};

&aml_bt {
	status = "disabled";
	reset-gpios = <&gpio    GPIOX_17 GPIO_ACTIVE_HIGH>;
	hostwake-gpios = <&gpio GPIOX_19 GPIO_ACTIVE_HIGH>;
};

&pwm_ab {
	pinctrl-0 = <&pwm_a_pins2>;
	pinctrl-names = "default";
	status = "okay";
};

&irblaster {
	status = "disabled";
};

&uart_C {
	status = "disabled";
	uart-has-rtscts;
};

&vddcpua {
	status = "disabled";
};

&vddcpub {
	status = "disabled";
};
